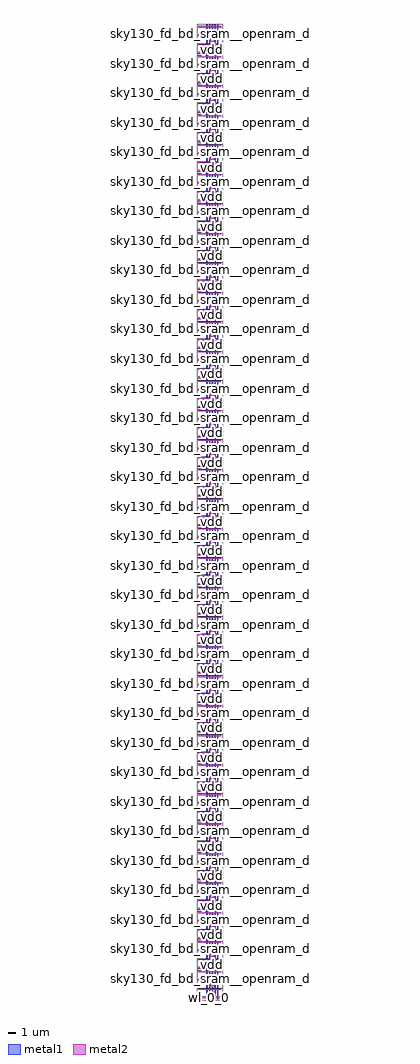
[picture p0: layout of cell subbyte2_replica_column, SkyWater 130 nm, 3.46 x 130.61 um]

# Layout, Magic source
magic
tech sky130A
magscale 1 2
<< metal1 >>
rect 222 0 258 26070
rect 294 0 330 26070
rect 366 25754 402 26095
rect 366 24964 402 25596
rect 366 24174 402 24806
rect 366 23384 402 24016
rect 366 22594 402 23226
rect 366 21804 402 22436
rect 366 21014 402 21646
rect 366 20224 402 20856
rect 366 19434 402 20066
rect 366 18644 402 19276
rect 366 17854 402 18486
rect 366 17064 402 17696
rect 366 16274 402 16906
rect 366 15484 402 16116
rect 366 14694 402 15326
rect 366 13904 402 14536
rect 366 13114 402 13746
rect 366 12324 402 12956
rect 366 11534 402 12166
rect 366 10744 402 11376
rect 366 9954 402 10586
rect 366 9164 402 9796
rect 366 8374 402 9006
rect 366 7584 402 8216
rect 366 6794 402 7426
rect 366 6004 402 6636
rect 366 5214 402 5846
rect 366 4424 402 5056
rect 366 3634 402 4266
rect 366 2844 402 3476
rect 366 2054 402 2686
rect 366 1264 402 1896
rect 366 474 402 1106
rect 366 -25 402 316
rect 438 0 474 26070
rect 510 0 546 26070
<< metal2 >>
rect 0 25998 624 26046
rect 330 25874 438 25950
rect 0 25778 624 25826
rect 330 25620 438 25730
rect 0 25524 624 25572
rect 330 25400 438 25476
rect 0 25304 624 25352
rect 0 25208 624 25256
rect 330 25084 438 25160
rect 0 24988 624 25036
rect 330 24830 438 24940
rect 0 24734 624 24782
rect 330 24610 438 24686
rect 0 24514 624 24562
rect 0 24418 624 24466
rect 330 24294 438 24370
rect 0 24198 624 24246
rect 330 24040 438 24150
rect 0 23944 624 23992
rect 330 23820 438 23896
rect 0 23724 624 23772
rect 0 23628 624 23676
rect 330 23504 438 23580
rect 0 23408 624 23456
rect 330 23250 438 23360
rect 0 23154 624 23202
rect 330 23030 438 23106
rect 0 22934 624 22982
rect 0 22838 624 22886
rect 330 22714 438 22790
rect 0 22618 624 22666
rect 330 22460 438 22570
rect 0 22364 624 22412
rect 330 22240 438 22316
rect 0 22144 624 22192
rect 0 22048 624 22096
rect 330 21924 438 22000
rect 0 21828 624 21876
rect 330 21670 438 21780
rect 0 21574 624 21622
rect 330 21450 438 21526
rect 0 21354 624 21402
rect 0 21258 624 21306
rect 330 21134 438 21210
rect 0 21038 624 21086
rect 330 20880 438 20990
rect 0 20784 624 20832
rect 330 20660 438 20736
rect 0 20564 624 20612
rect 0 20468 624 20516
rect 330 20344 438 20420
rect 0 20248 624 20296
rect 330 20090 438 20200
rect 0 19994 624 20042
rect 330 19870 438 19946
rect 0 19774 624 19822
rect 0 19678 624 19726
rect 330 19554 438 19630
rect 0 19458 624 19506
rect 330 19300 438 19410
rect 0 19204 624 19252
rect 330 19080 438 19156
rect 0 18984 624 19032
rect 0 18888 624 18936
rect 330 18764 438 18840
rect 0 18668 624 18716
rect 330 18510 438 18620
rect 0 18414 624 18462
rect 330 18290 438 18366
rect 0 18194 624 18242
rect 0 18098 624 18146
rect 330 17974 438 18050
rect 0 17878 624 17926
rect 330 17720 438 17830
rect 0 17624 624 17672
rect 330 17500 438 17576
rect 0 17404 624 17452
rect 0 17308 624 17356
rect 330 17184 438 17260
rect 0 17088 624 17136
rect 330 16930 438 17040
rect 0 16834 624 16882
rect 330 16710 438 16786
rect 0 16614 624 16662
rect 0 16518 624 16566
rect 330 16394 438 16470
rect 0 16298 624 16346
rect 330 16140 438 16250
rect 0 16044 624 16092
rect 330 15920 438 15996
rect 0 15824 624 15872
rect 0 15728 624 15776
rect 330 15604 438 15680
rect 0 15508 624 15556
rect 330 15350 438 15460
rect 0 15254 624 15302
rect 330 15130 438 15206
rect 0 15034 624 15082
rect 0 14938 624 14986
rect 330 14814 438 14890
rect 0 14718 624 14766
rect 330 14560 438 14670
rect 0 14464 624 14512
rect 330 14340 438 14416
rect 0 14244 624 14292
rect 0 14148 624 14196
rect 330 14024 438 14100
rect 0 13928 624 13976
rect 330 13770 438 13880
rect 0 13674 624 13722
rect 330 13550 438 13626
rect 0 13454 624 13502
rect 0 13358 624 13406
rect 330 13234 438 13310
rect 0 13138 624 13186
rect 330 12980 438 13090
rect 0 12884 624 12932
rect 330 12760 438 12836
rect 0 12664 624 12712
rect 0 12568 624 12616
rect 330 12444 438 12520
rect 0 12348 624 12396
rect 330 12190 438 12300
rect 0 12094 624 12142
rect 330 11970 438 12046
rect 0 11874 624 11922
rect 0 11778 624 11826
rect 330 11654 438 11730
rect 0 11558 624 11606
rect 330 11400 438 11510
rect 0 11304 624 11352
rect 330 11180 438 11256
rect 0 11084 624 11132
rect 0 10988 624 11036
rect 330 10864 438 10940
rect 0 10768 624 10816
rect 330 10610 438 10720
rect 0 10514 624 10562
rect 330 10390 438 10466
rect 0 10294 624 10342
rect 0 10198 624 10246
rect 330 10074 438 10150
rect 0 9978 624 10026
rect 330 9820 438 9930
rect 0 9724 624 9772
rect 330 9600 438 9676
rect 0 9504 624 9552
rect 0 9408 624 9456
rect 330 9284 438 9360
rect 0 9188 624 9236
rect 330 9030 438 9140
rect 0 8934 624 8982
rect 330 8810 438 8886
rect 0 8714 624 8762
rect 0 8618 624 8666
rect 330 8494 438 8570
rect 0 8398 624 8446
rect 330 8240 438 8350
rect 0 8144 624 8192
rect 330 8020 438 8096
rect 0 7924 624 7972
rect 0 7828 624 7876
rect 330 7704 438 7780
rect 0 7608 624 7656
rect 330 7450 438 7560
rect 0 7354 624 7402
rect 330 7230 438 7306
rect 0 7134 624 7182
rect 0 7038 624 7086
rect 330 6914 438 6990
rect 0 6818 624 6866
rect 330 6660 438 6770
rect 0 6564 624 6612
rect 330 6440 438 6516
rect 0 6344 624 6392
rect 0 6248 624 6296
rect 330 6124 438 6200
rect 0 6028 624 6076
rect 330 5870 438 5980
rect 0 5774 624 5822
rect 330 5650 438 5726
rect 0 5554 624 5602
rect 0 5458 624 5506
rect 330 5334 438 5410
rect 0 5238 624 5286
rect 330 5080 438 5190
rect 0 4984 624 5032
rect 330 4860 438 4936
rect 0 4764 624 4812
rect 0 4668 624 4716
rect 330 4544 438 4620
rect 0 4448 624 4496
rect 330 4290 438 4400
rect 0 4194 624 4242
rect 330 4070 438 4146
rect 0 3974 624 4022
rect 0 3878 624 3926
rect 330 3754 438 3830
rect 0 3658 624 3706
rect 330 3500 438 3610
rect 0 3404 624 3452
rect 330 3280 438 3356
rect 0 3184 624 3232
rect 0 3088 624 3136
rect 330 2964 438 3040
rect 0 2868 624 2916
rect 330 2710 438 2820
rect 0 2614 624 2662
rect 330 2490 438 2566
rect 0 2394 624 2442
rect 0 2298 624 2346
rect 330 2174 438 2250
rect 0 2078 624 2126
rect 330 1920 438 2030
rect 0 1824 624 1872
rect 330 1700 438 1776
rect 0 1604 624 1652
rect 0 1508 624 1556
rect 330 1384 438 1460
rect 0 1288 624 1336
rect 330 1130 438 1240
rect 0 1034 624 1082
rect 330 910 438 986
rect 0 814 624 862
rect 0 718 624 766
rect 330 594 438 670
rect 0 498 624 546
rect 330 340 438 450
rect 0 244 624 292
rect 330 120 438 196
rect 0 24 624 72
use sky130_fd_bd_sram__openram_dp_cell_dummy  sky130_fd_bd_sram__openram_dp_cell_dummy_0
transform -1 0 624 0 1 25675
box -42 -105 650 421
use sky130_fd_bd_sram__openram_dp_cell_replica  sky130_fd_bd_sram__openram_dp_cell_replica_0
transform -1 0 624 0 -1 25675
box -42 -105 650 421
use sky130_fd_bd_sram__openram_dp_cell_replica  sky130_fd_bd_sram__openram_dp_cell_replica_1
transform -1 0 624 0 1 24885
box -42 -105 650 421
use sky130_fd_bd_sram__openram_dp_cell_replica  sky130_fd_bd_sram__openram_dp_cell_replica_2
transform -1 0 624 0 -1 24885
box -42 -105 650 421
use sky130_fd_bd_sram__openram_dp_cell_replica  sky130_fd_bd_sram__openram_dp_cell_replica_3
transform -1 0 624 0 1 24095
box -42 -105 650 421
use sky130_fd_bd_sram__openram_dp_cell_replica  sky130_fd_bd_sram__openram_dp_cell_replica_4
transform -1 0 624 0 -1 24095
box -42 -105 650 421
use sky130_fd_bd_sram__openram_dp_cell_replica  sky130_fd_bd_sram__openram_dp_cell_replica_5
transform -1 0 624 0 1 23305
box -42 -105 650 421
use sky130_fd_bd_sram__openram_dp_cell_replica  sky130_fd_bd_sram__openram_dp_cell_replica_6
transform -1 0 624 0 -1 23305
box -42 -105 650 421
use sky130_fd_bd_sram__openram_dp_cell_replica  sky130_fd_bd_sram__openram_dp_cell_replica_7
transform -1 0 624 0 1 22515
box -42 -105 650 421
use sky130_fd_bd_sram__openram_dp_cell_replica  sky130_fd_bd_sram__openram_dp_cell_replica_8
transform -1 0 624 0 -1 22515
box -42 -105 650 421
use sky130_fd_bd_sram__openram_dp_cell_replica  sky130_fd_bd_sram__openram_dp_cell_replica_9
transform -1 0 624 0 1 21725
box -42 -105 650 421
use sky130_fd_bd_sram__openram_dp_cell_replica  sky130_fd_bd_sram__openram_dp_cell_replica_10
transform -1 0 624 0 -1 21725
box -42 -105 650 421
use sky130_fd_bd_sram__openram_dp_cell_replica  sky130_fd_bd_sram__openram_dp_cell_replica_11
transform -1 0 624 0 1 20935
box -42 -105 650 421
use sky130_fd_bd_sram__openram_dp_cell_replica  sky130_fd_bd_sram__openram_dp_cell_replica_12
transform -1 0 624 0 -1 20935
box -42 -105 650 421
use sky130_fd_bd_sram__openram_dp_cell_replica  sky130_fd_bd_sram__openram_dp_cell_replica_13
transform -1 0 624 0 1 20145
box -42 -105 650 421
use sky130_fd_bd_sram__openram_dp_cell_replica  sky130_fd_bd_sram__openram_dp_cell_replica_14
transform -1 0 624 0 -1 20145
box -42 -105 650 421
use sky130_fd_bd_sram__openram_dp_cell_replica  sky130_fd_bd_sram__openram_dp_cell_replica_15
transform -1 0 624 0 1 19355
box -42 -105 650 421
use sky130_fd_bd_sram__openram_dp_cell_replica  sky130_fd_bd_sram__openram_dp_cell_replica_16
transform -1 0 624 0 -1 19355
box -42 -105 650 421
use sky130_fd_bd_sram__openram_dp_cell_replica  sky130_fd_bd_sram__openram_dp_cell_replica_17
transform -1 0 624 0 1 18565
box -42 -105 650 421
use sky130_fd_bd_sram__openram_dp_cell_replica  sky130_fd_bd_sram__openram_dp_cell_replica_18
transform -1 0 624 0 -1 18565
box -42 -105 650 421
use sky130_fd_bd_sram__openram_dp_cell_replica  sky130_fd_bd_sram__openram_dp_cell_replica_19
transform -1 0 624 0 1 17775
box -42 -105 650 421
use sky130_fd_bd_sram__openram_dp_cell_replica  sky130_fd_bd_sram__openram_dp_cell_replica_20
transform -1 0 624 0 -1 17775
box -42 -105 650 421
use sky130_fd_bd_sram__openram_dp_cell_replica  sky130_fd_bd_sram__openram_dp_cell_replica_21
transform -1 0 624 0 1 16985
box -42 -105 650 421
use sky130_fd_bd_sram__openram_dp_cell_replica  sky130_fd_bd_sram__openram_dp_cell_replica_22
transform -1 0 624 0 -1 16985
box -42 -105 650 421
use sky130_fd_bd_sram__openram_dp_cell_replica  sky130_fd_bd_sram__openram_dp_cell_replica_23
transform -1 0 624 0 1 16195
box -42 -105 650 421
use sky130_fd_bd_sram__openram_dp_cell_replica  sky130_fd_bd_sram__openram_dp_cell_replica_24
transform -1 0 624 0 -1 16195
box -42 -105 650 421
use sky130_fd_bd_sram__openram_dp_cell_replica  sky130_fd_bd_sram__openram_dp_cell_replica_25
transform -1 0 624 0 1 15405
box -42 -105 650 421
use sky130_fd_bd_sram__openram_dp_cell_replica  sky130_fd_bd_sram__openram_dp_cell_replica_26
transform -1 0 624 0 -1 15405
box -42 -105 650 421
use sky130_fd_bd_sram__openram_dp_cell_replica  sky130_fd_bd_sram__openram_dp_cell_replica_27
transform -1 0 624 0 1 14615
box -42 -105 650 421
use sky130_fd_bd_sram__openram_dp_cell_replica  sky130_fd_bd_sram__openram_dp_cell_replica_28
transform -1 0 624 0 -1 14615
box -42 -105 650 421
use sky130_fd_bd_sram__openram_dp_cell_replica  sky130_fd_bd_sram__openram_dp_cell_replica_29
transform -1 0 624 0 1 13825
box -42 -105 650 421
use sky130_fd_bd_sram__openram_dp_cell_replica  sky130_fd_bd_sram__openram_dp_cell_replica_30
transform -1 0 624 0 -1 13825
box -42 -105 650 421
use sky130_fd_bd_sram__openram_dp_cell_replica  sky130_fd_bd_sram__openram_dp_cell_replica_31
transform -1 0 624 0 1 13035
box -42 -105 650 421
use sky130_fd_bd_sram__openram_dp_cell_replica  sky130_fd_bd_sram__openram_dp_cell_replica_32
transform -1 0 624 0 -1 13035
box -42 -105 650 421
use sky130_fd_bd_sram__openram_dp_cell_replica  sky130_fd_bd_sram__openram_dp_cell_replica_33
transform -1 0 624 0 1 12245
box -42 -105 650 421
use sky130_fd_bd_sram__openram_dp_cell_replica  sky130_fd_bd_sram__openram_dp_cell_replica_34
transform -1 0 624 0 -1 12245
box -42 -105 650 421
use sky130_fd_bd_sram__openram_dp_cell_replica  sky130_fd_bd_sram__openram_dp_cell_replica_35
transform -1 0 624 0 1 11455
box -42 -105 650 421
use sky130_fd_bd_sram__openram_dp_cell_replica  sky130_fd_bd_sram__openram_dp_cell_replica_36
transform -1 0 624 0 -1 11455
box -42 -105 650 421
use sky130_fd_bd_sram__openram_dp_cell_replica  sky130_fd_bd_sram__openram_dp_cell_replica_37
transform -1 0 624 0 1 10665
box -42 -105 650 421
use sky130_fd_bd_sram__openram_dp_cell_replica  sky130_fd_bd_sram__openram_dp_cell_replica_38
transform -1 0 624 0 -1 10665
box -42 -105 650 421
use sky130_fd_bd_sram__openram_dp_cell_replica  sky130_fd_bd_sram__openram_dp_cell_replica_39
transform -1 0 624 0 1 9875
box -42 -105 650 421
use sky130_fd_bd_sram__openram_dp_cell_replica  sky130_fd_bd_sram__openram_dp_cell_replica_40
transform -1 0 624 0 -1 9875
box -42 -105 650 421
use sky130_fd_bd_sram__openram_dp_cell_replica  sky130_fd_bd_sram__openram_dp_cell_replica_41
transform -1 0 624 0 1 9085
box -42 -105 650 421
use sky130_fd_bd_sram__openram_dp_cell_replica  sky130_fd_bd_sram__openram_dp_cell_replica_42
transform -1 0 624 0 -1 9085
box -42 -105 650 421
use sky130_fd_bd_sram__openram_dp_cell_replica  sky130_fd_bd_sram__openram_dp_cell_replica_43
transform -1 0 624 0 1 8295
box -42 -105 650 421
use sky130_fd_bd_sram__openram_dp_cell_replica  sky130_fd_bd_sram__openram_dp_cell_replica_44
transform -1 0 624 0 -1 8295
box -42 -105 650 421
use sky130_fd_bd_sram__openram_dp_cell_replica  sky130_fd_bd_sram__openram_dp_cell_replica_45
transform -1 0 624 0 1 7505
box -42 -105 650 421
use sky130_fd_bd_sram__openram_dp_cell_replica  sky130_fd_bd_sram__openram_dp_cell_replica_46
transform -1 0 624 0 -1 7505
box -42 -105 650 421
use sky130_fd_bd_sram__openram_dp_cell_replica  sky130_fd_bd_sram__openram_dp_cell_replica_47
transform -1 0 624 0 1 6715
box -42 -105 650 421
use sky130_fd_bd_sram__openram_dp_cell_replica  sky130_fd_bd_sram__openram_dp_cell_replica_48
transform -1 0 624 0 -1 6715
box -42 -105 650 421
use sky130_fd_bd_sram__openram_dp_cell_replica  sky130_fd_bd_sram__openram_dp_cell_replica_49
transform -1 0 624 0 1 5925
box -42 -105 650 421
use sky130_fd_bd_sram__openram_dp_cell_replica  sky130_fd_bd_sram__openram_dp_cell_replica_50
transform -1 0 624 0 -1 5925
box -42 -105 650 421
use sky130_fd_bd_sram__openram_dp_cell_replica  sky130_fd_bd_sram__openram_dp_cell_replica_51
transform -1 0 624 0 1 5135
box -42 -105 650 421
use sky130_fd_bd_sram__openram_dp_cell_replica  sky130_fd_bd_sram__openram_dp_cell_replica_52
transform -1 0 624 0 -1 5135
box -42 -105 650 421
use sky130_fd_bd_sram__openram_dp_cell_replica  sky130_fd_bd_sram__openram_dp_cell_replica_53
transform -1 0 624 0 1 4345
box -42 -105 650 421
use sky130_fd_bd_sram__openram_dp_cell_replica  sky130_fd_bd_sram__openram_dp_cell_replica_54
transform -1 0 624 0 -1 4345
box -42 -105 650 421
use sky130_fd_bd_sram__openram_dp_cell_replica  sky130_fd_bd_sram__openram_dp_cell_replica_55
transform -1 0 624 0 1 3555
box -42 -105 650 421
use sky130_fd_bd_sram__openram_dp_cell_replica  sky130_fd_bd_sram__openram_dp_cell_replica_56
transform -1 0 624 0 -1 3555
box -42 -105 650 421
use sky130_fd_bd_sram__openram_dp_cell_replica  sky130_fd_bd_sram__openram_dp_cell_replica_57
transform -1 0 624 0 1 2765
box -42 -105 650 421
use sky130_fd_bd_sram__openram_dp_cell_replica  sky130_fd_bd_sram__openram_dp_cell_replica_58
transform -1 0 624 0 -1 2765
box -42 -105 650 421
use sky130_fd_bd_sram__openram_dp_cell_replica  sky130_fd_bd_sram__openram_dp_cell_replica_59
transform -1 0 624 0 1 1975
box -42 -105 650 421
use sky130_fd_bd_sram__openram_dp_cell_replica  sky130_fd_bd_sram__openram_dp_cell_replica_60
transform -1 0 624 0 -1 1975
box -42 -105 650 421
use sky130_fd_bd_sram__openram_dp_cell_replica  sky130_fd_bd_sram__openram_dp_cell_replica_61
transform -1 0 624 0 1 1185
box -42 -105 650 421
use sky130_fd_bd_sram__openram_dp_cell_replica  sky130_fd_bd_sram__openram_dp_cell_replica_62
transform -1 0 624 0 -1 1185
box -42 -105 650 421
use sky130_fd_bd_sram__openram_dp_cell_replica  sky130_fd_bd_sram__openram_dp_cell_replica_63
transform -1 0 624 0 1 395
box -42 -105 650 421
use sky130_fd_bd_sram__openram_dp_cell_replica  sky130_fd_bd_sram__openram_dp_cell_replica_64
transform -1 0 624 0 -1 395
box -42 -105 650 421
<< labels >>
rlabel metal1 s 510 0 546 26070 4 bl_0_0
port 3 nsew
rlabel metal1 s 438 0 474 26070 4 br_0_0
port 5 nsew
rlabel metal1 s 294 0 330 26070 4 bl_1_0
port 7 nsew
rlabel metal1 s 222 0 258 26070 4 br_1_0
port 9 nsew
rlabel metal2 s 0 24 624 72 4 wl_0_0
port 11 nsew
rlabel metal2 s 0 718 624 766 4 wl_0_1
port 13 nsew
rlabel metal2 s 0 814 624 862 4 wl_0_2
port 15 nsew
rlabel metal2 s 0 1508 624 1556 4 wl_0_3
port 17 nsew
rlabel metal2 s 0 1604 624 1652 4 wl_0_4
port 19 nsew
rlabel metal2 s 0 2298 624 2346 4 wl_0_5
port 21 nsew
rlabel metal2 s 0 2394 624 2442 4 wl_0_6
port 23 nsew
rlabel metal2 s 0 3088 624 3136 4 wl_0_7
port 25 nsew
rlabel metal2 s 0 3184 624 3232 4 wl_0_8
port 27 nsew
rlabel metal2 s 0 3878 624 3926 4 wl_0_9
port 29 nsew
rlabel metal2 s 0 3974 624 4022 4 wl_0_10
port 31 nsew
rlabel metal2 s 0 4668 624 4716 4 wl_0_11
port 33 nsew
rlabel metal2 s 0 4764 624 4812 4 wl_0_12
port 35 nsew
rlabel metal2 s 0 5458 624 5506 4 wl_0_13
port 37 nsew
rlabel metal2 s 0 5554 624 5602 4 wl_0_14
port 39 nsew
rlabel metal2 s 0 6248 624 6296 4 wl_0_15
port 41 nsew
rlabel metal2 s 0 6344 624 6392 4 wl_0_16
port 43 nsew
rlabel metal2 s 0 7038 624 7086 4 wl_0_17
port 45 nsew
rlabel metal2 s 0 7134 624 7182 4 wl_0_18
port 47 nsew
rlabel metal2 s 0 7828 624 7876 4 wl_0_19
port 49 nsew
rlabel metal2 s 0 7924 624 7972 4 wl_0_20
port 51 nsew
rlabel metal2 s 0 8618 624 8666 4 wl_0_21
port 53 nsew
rlabel metal2 s 0 8714 624 8762 4 wl_0_22
port 55 nsew
rlabel metal2 s 0 9408 624 9456 4 wl_0_23
port 57 nsew
rlabel metal2 s 0 9504 624 9552 4 wl_0_24
port 59 nsew
rlabel metal2 s 0 10198 624 10246 4 wl_0_25
port 61 nsew
rlabel metal2 s 0 10294 624 10342 4 wl_0_26
port 63 nsew
rlabel metal2 s 0 10988 624 11036 4 wl_0_27
port 65 nsew
rlabel metal2 s 0 11084 624 11132 4 wl_0_28
port 67 nsew
rlabel metal2 s 0 11778 624 11826 4 wl_0_29
port 69 nsew
rlabel metal2 s 0 11874 624 11922 4 wl_0_30
port 71 nsew
rlabel metal2 s 0 12568 624 12616 4 wl_0_31
port 73 nsew
rlabel metal2 s 0 12664 624 12712 4 wl_0_32
port 75 nsew
rlabel metal2 s 0 13358 624 13406 4 wl_0_33
port 77 nsew
rlabel metal2 s 0 13454 624 13502 4 wl_0_34
port 79 nsew
rlabel metal2 s 0 14148 624 14196 4 wl_0_35
port 81 nsew
rlabel metal2 s 0 14244 624 14292 4 wl_0_36
port 83 nsew
rlabel metal2 s 0 14938 624 14986 4 wl_0_37
port 85 nsew
rlabel metal2 s 0 15034 624 15082 4 wl_0_38
port 87 nsew
rlabel metal2 s 0 15728 624 15776 4 wl_0_39
port 89 nsew
rlabel metal2 s 0 15824 624 15872 4 wl_0_40
port 91 nsew
rlabel metal2 s 0 16518 624 16566 4 wl_0_41
port 93 nsew
rlabel metal2 s 0 16614 624 16662 4 wl_0_42
port 95 nsew
rlabel metal2 s 0 17308 624 17356 4 wl_0_43
port 97 nsew
rlabel metal2 s 0 17404 624 17452 4 wl_0_44
port 99 nsew
rlabel metal2 s 0 18098 624 18146 4 wl_0_45
port 101 nsew
rlabel metal2 s 0 18194 624 18242 4 wl_0_46
port 103 nsew
rlabel metal2 s 0 18888 624 18936 4 wl_0_47
port 105 nsew
rlabel metal2 s 0 18984 624 19032 4 wl_0_48
port 107 nsew
rlabel metal2 s 0 19678 624 19726 4 wl_0_49
port 109 nsew
rlabel metal2 s 0 19774 624 19822 4 wl_0_50
port 111 nsew
rlabel metal2 s 0 20468 624 20516 4 wl_0_51
port 113 nsew
rlabel metal2 s 0 20564 624 20612 4 wl_0_52
port 115 nsew
rlabel metal2 s 0 21258 624 21306 4 wl_0_53
port 117 nsew
rlabel metal2 s 0 21354 624 21402 4 wl_0_54
port 119 nsew
rlabel metal2 s 0 22048 624 22096 4 wl_0_55
port 121 nsew
rlabel metal2 s 0 22144 624 22192 4 wl_0_56
port 123 nsew
rlabel metal2 s 0 22838 624 22886 4 wl_0_57
port 125 nsew
rlabel metal2 s 0 22934 624 22982 4 wl_0_58
port 127 nsew
rlabel metal2 s 0 23628 624 23676 4 wl_0_59
port 129 nsew
rlabel metal2 s 0 23724 624 23772 4 wl_0_60
port 131 nsew
rlabel metal2 s 0 24418 624 24466 4 wl_0_61
port 133 nsew
rlabel metal2 s 0 24514 624 24562 4 wl_0_62
port 135 nsew
rlabel metal2 s 0 25208 624 25256 4 wl_0_63
port 137 nsew
rlabel metal2 s 0 25304 624 25352 4 wl_0_64
port 139 nsew
rlabel metal2 s 0 25998 624 26046 4 wl_0_65
port 141 nsew
rlabel metal2 s 0 244 624 292 4 wl_1_0
port 143 nsew
rlabel metal2 s 0 498 624 546 4 wl_1_1
port 145 nsew
rlabel metal2 s 0 1034 624 1082 4 wl_1_2
port 147 nsew
rlabel metal2 s 0 1288 624 1336 4 wl_1_3
port 149 nsew
rlabel metal2 s 0 1824 624 1872 4 wl_1_4
port 151 nsew
rlabel metal2 s 0 2078 624 2126 4 wl_1_5
port 153 nsew
rlabel metal2 s 0 2614 624 2662 4 wl_1_6
port 155 nsew
rlabel metal2 s 0 2868 624 2916 4 wl_1_7
port 157 nsew
rlabel metal2 s 0 3404 624 3452 4 wl_1_8
port 159 nsew
rlabel metal2 s 0 3658 624 3706 4 wl_1_9
port 161 nsew
rlabel metal2 s 0 4194 624 4242 4 wl_1_10
port 163 nsew
rlabel metal2 s 0 4448 624 4496 4 wl_1_11
port 165 nsew
rlabel metal2 s 0 4984 624 5032 4 wl_1_12
port 167 nsew
rlabel metal2 s 0 5238 624 5286 4 wl_1_13
port 169 nsew
rlabel metal2 s 0 5774 624 5822 4 wl_1_14
port 171 nsew
rlabel metal2 s 0 6028 624 6076 4 wl_1_15
port 173 nsew
rlabel metal2 s 0 6564 624 6612 4 wl_1_16
port 175 nsew
rlabel metal2 s 0 6818 624 6866 4 wl_1_17
port 177 nsew
rlabel metal2 s 0 7354 624 7402 4 wl_1_18
port 179 nsew
rlabel metal2 s 0 7608 624 7656 4 wl_1_19
port 181 nsew
rlabel metal2 s 0 8144 624 8192 4 wl_1_20
port 183 nsew
rlabel metal2 s 0 8398 624 8446 4 wl_1_21
port 185 nsew
rlabel metal2 s 0 8934 624 8982 4 wl_1_22
port 187 nsew
rlabel metal2 s 0 9188 624 9236 4 wl_1_23
port 189 nsew
rlabel metal2 s 0 9724 624 9772 4 wl_1_24
port 191 nsew
rlabel metal2 s 0 9978 624 10026 4 wl_1_25
port 193 nsew
rlabel metal2 s 0 10514 624 10562 4 wl_1_26
port 195 nsew
rlabel metal2 s 0 10768 624 10816 4 wl_1_27
port 197 nsew
rlabel metal2 s 0 11304 624 11352 4 wl_1_28
port 199 nsew
rlabel metal2 s 0 11558 624 11606 4 wl_1_29
port 201 nsew
rlabel metal2 s 0 12094 624 12142 4 wl_1_30
port 203 nsew
rlabel metal2 s 0 12348 624 12396 4 wl_1_31
port 205 nsew
rlabel metal2 s 0 12884 624 12932 4 wl_1_32
port 207 nsew
rlabel metal2 s 0 13138 624 13186 4 wl_1_33
port 209 nsew
rlabel metal2 s 0 13674 624 13722 4 wl_1_34
port 211 nsew
rlabel metal2 s 0 13928 624 13976 4 wl_1_35
port 213 nsew
rlabel metal2 s 0 14464 624 14512 4 wl_1_36
port 215 nsew
rlabel metal2 s 0 14718 624 14766 4 wl_1_37
port 217 nsew
rlabel metal2 s 0 15254 624 15302 4 wl_1_38
port 219 nsew
rlabel metal2 s 0 15508 624 15556 4 wl_1_39
port 221 nsew
rlabel metal2 s 0 16044 624 16092 4 wl_1_40
port 223 nsew
rlabel metal2 s 0 16298 624 16346 4 wl_1_41
port 225 nsew
rlabel metal2 s 0 16834 624 16882 4 wl_1_42
port 227 nsew
rlabel metal2 s 0 17088 624 17136 4 wl_1_43
port 229 nsew
rlabel metal2 s 0 17624 624 17672 4 wl_1_44
port 231 nsew
rlabel metal2 s 0 17878 624 17926 4 wl_1_45
port 233 nsew
rlabel metal2 s 0 18414 624 18462 4 wl_1_46
port 235 nsew
rlabel metal2 s 0 18668 624 18716 4 wl_1_47
port 237 nsew
rlabel metal2 s 0 19204 624 19252 4 wl_1_48
port 239 nsew
rlabel metal2 s 0 19458 624 19506 4 wl_1_49
port 241 nsew
rlabel metal2 s 0 19994 624 20042 4 wl_1_50
port 243 nsew
rlabel metal2 s 0 20248 624 20296 4 wl_1_51
port 245 nsew
rlabel metal2 s 0 20784 624 20832 4 wl_1_52
port 247 nsew
rlabel metal2 s 0 21038 624 21086 4 wl_1_53
port 249 nsew
rlabel metal2 s 0 21574 624 21622 4 wl_1_54
port 251 nsew
rlabel metal2 s 0 21828 624 21876 4 wl_1_55
port 253 nsew
rlabel metal2 s 0 22364 624 22412 4 wl_1_56
port 255 nsew
rlabel metal2 s 0 22618 624 22666 4 wl_1_57
port 257 nsew
rlabel metal2 s 0 23154 624 23202 4 wl_1_58
port 259 nsew
rlabel metal2 s 0 23408 624 23456 4 wl_1_59
port 261 nsew
rlabel metal2 s 0 23944 624 23992 4 wl_1_60
port 263 nsew
rlabel metal2 s 0 24198 624 24246 4 wl_1_61
port 265 nsew
rlabel metal2 s 0 24734 624 24782 4 wl_1_62
port 267 nsew
rlabel metal2 s 0 24988 624 25036 4 wl_1_63
port 269 nsew
rlabel metal2 s 0 25524 624 25572 4 wl_1_64
port 271 nsew
rlabel metal2 s 0 25778 624 25826 4 wl_1_65
port 273 nsew
rlabel metal1 s 366 15775 402 16116 4 vdd
port 275 nsew
rlabel metal1 s 366 2345 402 2686 4 vdd
port 275 nsew
rlabel metal1 s 366 5214 402 5555 4 vdd
port 275 nsew
rlabel metal1 s 366 3634 402 3975 4 vdd
port 275 nsew
rlabel metal1 s 366 18935 402 19276 4 vdd
port 275 nsew
rlabel metal1 s 366 18145 402 18486 4 vdd
port 275 nsew
rlabel metal1 s 366 7085 402 7426 4 vdd
port 275 nsew
rlabel metal1 s 366 14985 402 15326 4 vdd
port 275 nsew
rlabel metal1 s 366 15484 402 15825 4 vdd
port 275 nsew
rlabel metal1 s 366 2054 402 2395 4 vdd
port 275 nsew
rlabel metal1 s 366 1555 402 1896 4 vdd
port 275 nsew
rlabel metal1 s 366 17355 402 17696 4 vdd
port 275 nsew
rlabel metal1 s 366 19725 402 20066 4 vdd
port 275 nsew
rlabel metal1 s 366 22885 402 23226 4 vdd
port 275 nsew
rlabel metal1 s 366 21014 402 21355 4 vdd
port 275 nsew
rlabel metal1 s 366 9954 402 10295 4 vdd
port 275 nsew
rlabel metal1 s 366 16565 402 16906 4 vdd
port 275 nsew
rlabel metal1 s 366 22594 402 22935 4 vdd
port 275 nsew
rlabel metal1 s 366 4424 402 4765 4 vdd
port 275 nsew
rlabel metal1 s 366 14694 402 15035 4 vdd
port 275 nsew
rlabel metal1 s 366 765 402 1106 4 vdd
port 275 nsew
rlabel metal1 s 366 21305 402 21646 4 vdd
port 275 nsew
rlabel metal1 s 366 8374 402 8715 4 vdd
port 275 nsew
rlabel metal1 s 366 24174 402 24515 4 vdd
port 275 nsew
rlabel metal1 s 366 5505 402 5846 4 vdd
port 275 nsew
rlabel metal1 s 366 10744 402 11085 4 vdd
port 275 nsew
rlabel metal1 s 366 24465 402 24806 4 vdd
port 275 nsew
rlabel metal1 s 366 1264 402 1605 4 vdd
port 275 nsew
rlabel metal1 s 366 6004 402 6345 4 vdd
port 275 nsew
rlabel metal1 s 366 19434 402 19775 4 vdd
port 275 nsew
rlabel metal1 s 366 24964 402 25305 4 vdd
port 275 nsew
rlabel metal1 s 366 11534 402 11875 4 vdd
port 275 nsew
rlabel metal1 s 366 8665 402 9006 4 vdd
port 275 nsew
rlabel metal1 s 366 6794 402 7135 4 vdd
port 275 nsew
rlabel metal1 s 366 474 402 815 4 vdd
port 275 nsew
rlabel metal1 s 366 18644 402 18985 4 vdd
port 275 nsew
rlabel metal1 s 366 14195 402 14536 4 vdd
port 275 nsew
rlabel metal1 s 366 16274 402 16615 4 vdd
port 275 nsew
rlabel metal1 s 366 13405 402 13746 4 vdd
port 275 nsew
rlabel metal1 s 366 17854 402 18195 4 vdd
port 275 nsew
rlabel metal1 s 366 23384 402 23725 4 vdd
port 275 nsew
rlabel metal1 s 366 2844 402 3185 4 vdd
port 275 nsew
rlabel metal1 s 366 7875 402 8216 4 vdd
port 275 nsew
rlabel metal1 s 366 22095 402 22436 4 vdd
port 275 nsew
rlabel metal1 s 366 10245 402 10586 4 vdd
port 275 nsew
rlabel metal1 s 366 12615 402 12956 4 vdd
port 275 nsew
rlabel metal1 s 366 9455 402 9796 4 vdd
port 275 nsew
rlabel metal1 s 366 23675 402 24016 4 vdd
port 275 nsew
rlabel metal1 s 366 20224 402 20565 4 vdd
port 275 nsew
rlabel metal1 s 366 11035 402 11376 4 vdd
port 275 nsew
rlabel metal1 s 366 3925 402 4266 4 vdd
port 275 nsew
rlabel metal1 s 366 7584 402 7925 4 vdd
port 275 nsew
rlabel metal1 s 366 25255 402 25596 4 vdd
port 275 nsew
rlabel metal1 s 366 4715 402 5056 4 vdd
port 275 nsew
rlabel metal1 s 366 3135 402 3476 4 vdd
port 275 nsew
rlabel metal1 s 366 12324 402 12665 4 vdd
port 275 nsew
rlabel metal1 s 366 13904 402 14245 4 vdd
port 275 nsew
rlabel metal1 s 366 13114 402 13455 4 vdd
port 275 nsew
rlabel metal1 s 366 25754 402 26095 4 vdd
port 275 nsew
rlabel metal1 s 366 -25 402 316 4 vdd
port 275 nsew
rlabel metal1 s 366 11825 402 12166 4 vdd
port 275 nsew
rlabel metal1 s 366 9164 402 9505 4 vdd
port 275 nsew
rlabel metal1 s 366 21804 402 22145 4 vdd
port 275 nsew
rlabel metal1 s 366 20515 402 20856 4 vdd
port 275 nsew
rlabel metal1 s 366 17064 402 17405 4 vdd
port 275 nsew
rlabel metal1 s 366 6295 402 6636 4 vdd
port 275 nsew
rlabel metal2 s 330 5334 438 5410 4 gnd
port 277 nsew
rlabel metal2 s 330 7230 438 7306 4 gnd
port 277 nsew
rlabel metal2 s 330 5080 438 5190 4 gnd
port 277 nsew
rlabel metal2 s 330 6914 438 6990 4 gnd
port 277 nsew
rlabel metal2 s 330 21134 438 21210 4 gnd
port 277 nsew
rlabel metal2 s 330 14024 438 14100 4 gnd
port 277 nsew
rlabel metal2 s 330 16930 438 17040 4 gnd
port 277 nsew
rlabel metal2 s 330 594 438 670 4 gnd
port 277 nsew
rlabel metal2 s 330 12760 438 12836 4 gnd
port 277 nsew
rlabel metal2 s 330 1130 438 1240 4 gnd
port 277 nsew
rlabel metal2 s 330 2964 438 3040 4 gnd
port 277 nsew
rlabel metal2 s 330 7450 438 7560 4 gnd
port 277 nsew
rlabel metal2 s 330 11400 438 11510 4 gnd
port 277 nsew
rlabel metal2 s 330 18764 438 18840 4 gnd
port 277 nsew
rlabel metal2 s 330 18510 438 18620 4 gnd
port 277 nsew
rlabel metal2 s 330 17184 438 17260 4 gnd
port 277 nsew
rlabel metal2 s 330 4860 438 4936 4 gnd
port 277 nsew
rlabel metal2 s 330 8810 438 8886 4 gnd
port 277 nsew
rlabel metal2 s 330 22240 438 22316 4 gnd
port 277 nsew
rlabel metal2 s 330 4290 438 4400 4 gnd
port 277 nsew
rlabel metal2 s 330 9600 438 9676 4 gnd
port 277 nsew
rlabel metal2 s 330 10390 438 10466 4 gnd
port 277 nsew
rlabel metal2 s 330 25620 438 25730 4 gnd
port 277 nsew
rlabel metal2 s 330 2490 438 2566 4 gnd
port 277 nsew
rlabel metal2 s 330 21670 438 21780 4 gnd
port 277 nsew
rlabel metal2 s 330 23504 438 23580 4 gnd
port 277 nsew
rlabel metal2 s 330 4544 438 4620 4 gnd
port 277 nsew
rlabel metal2 s 330 1700 438 1776 4 gnd
port 277 nsew
rlabel metal2 s 330 3280 438 3356 4 gnd
port 277 nsew
rlabel metal2 s 330 5870 438 5980 4 gnd
port 277 nsew
rlabel metal2 s 330 11180 438 11256 4 gnd
port 277 nsew
rlabel metal2 s 330 19300 438 19410 4 gnd
port 277 nsew
rlabel metal2 s 330 25874 438 25950 4 gnd
port 277 nsew
rlabel metal2 s 330 21924 438 22000 4 gnd
port 277 nsew
rlabel metal2 s 330 9284 438 9360 4 gnd
port 277 nsew
rlabel metal2 s 330 12980 438 13090 4 gnd
port 277 nsew
rlabel metal2 s 330 21450 438 21526 4 gnd
port 277 nsew
rlabel metal2 s 330 15130 438 15206 4 gnd
port 277 nsew
rlabel metal2 s 330 6124 438 6200 4 gnd
port 277 nsew
rlabel metal2 s 330 20090 438 20200 4 gnd
port 277 nsew
rlabel metal2 s 330 3500 438 3610 4 gnd
port 277 nsew
rlabel metal2 s 330 25400 438 25476 4 gnd
port 277 nsew
rlabel metal2 s 330 12444 438 12520 4 gnd
port 277 nsew
rlabel metal2 s 330 19554 438 19630 4 gnd
port 277 nsew
rlabel metal2 s 330 24294 438 24370 4 gnd
port 277 nsew
rlabel metal2 s 330 9030 438 9140 4 gnd
port 277 nsew
rlabel metal2 s 330 5650 438 5726 4 gnd
port 277 nsew
rlabel metal2 s 330 6440 438 6516 4 gnd
port 277 nsew
rlabel metal2 s 330 2174 438 2250 4 gnd
port 277 nsew
rlabel metal2 s 330 9820 438 9930 4 gnd
port 277 nsew
rlabel metal2 s 330 14560 438 14670 4 gnd
port 277 nsew
rlabel metal2 s 330 24830 438 24940 4 gnd
port 277 nsew
rlabel metal2 s 330 16394 438 16470 4 gnd
port 277 nsew
rlabel metal2 s 330 1920 438 2030 4 gnd
port 277 nsew
rlabel metal2 s 330 13234 438 13310 4 gnd
port 277 nsew
rlabel metal2 s 330 12190 438 12300 4 gnd
port 277 nsew
rlabel metal2 s 330 25084 438 25160 4 gnd
port 277 nsew
rlabel metal2 s 330 8240 438 8350 4 gnd
port 277 nsew
rlabel metal2 s 330 7704 438 7780 4 gnd
port 277 nsew
rlabel metal2 s 330 24610 438 24686 4 gnd
port 277 nsew
rlabel metal2 s 330 340 438 450 4 gnd
port 277 nsew
rlabel metal2 s 330 6660 438 6770 4 gnd
port 277 nsew
rlabel metal2 s 330 8020 438 8096 4 gnd
port 277 nsew
rlabel metal2 s 330 120 438 196 4 gnd
port 277 nsew
rlabel metal2 s 330 1384 438 1460 4 gnd
port 277 nsew
rlabel metal2 s 330 13550 438 13626 4 gnd
port 277 nsew
rlabel metal2 s 330 23030 438 23106 4 gnd
port 277 nsew
rlabel metal2 s 330 17720 438 17830 4 gnd
port 277 nsew
rlabel metal2 s 330 24040 438 24150 4 gnd
port 277 nsew
rlabel metal2 s 330 20660 438 20736 4 gnd
port 277 nsew
rlabel metal2 s 330 13770 438 13880 4 gnd
port 277 nsew
rlabel metal2 s 330 11654 438 11730 4 gnd
port 277 nsew
rlabel metal2 s 330 23820 438 23896 4 gnd
port 277 nsew
rlabel metal2 s 330 14814 438 14890 4 gnd
port 277 nsew
rlabel metal2 s 330 19080 438 19156 4 gnd
port 277 nsew
rlabel metal2 s 330 14340 438 14416 4 gnd
port 277 nsew
rlabel metal2 s 330 16140 438 16250 4 gnd
port 277 nsew
rlabel metal2 s 330 17500 438 17576 4 gnd
port 277 nsew
rlabel metal2 s 330 16710 438 16786 4 gnd
port 277 nsew
rlabel metal2 s 330 910 438 986 4 gnd
port 277 nsew
rlabel metal2 s 330 11970 438 12046 4 gnd
port 277 nsew
rlabel metal2 s 330 18290 438 18366 4 gnd
port 277 nsew
rlabel metal2 s 330 20344 438 20420 4 gnd
port 277 nsew
rlabel metal2 s 330 2710 438 2820 4 gnd
port 277 nsew
rlabel metal2 s 330 15604 438 15680 4 gnd
port 277 nsew
rlabel metal2 s 330 10864 438 10940 4 gnd
port 277 nsew
rlabel metal2 s 330 19870 438 19946 4 gnd
port 277 nsew
rlabel metal2 s 330 17974 438 18050 4 gnd
port 277 nsew
rlabel metal2 s 330 4070 438 4146 4 gnd
port 277 nsew
rlabel metal2 s 330 8494 438 8570 4 gnd
port 277 nsew
rlabel metal2 s 330 3754 438 3830 4 gnd
port 277 nsew
rlabel metal2 s 330 10074 438 10150 4 gnd
port 277 nsew
rlabel metal2 s 330 23250 438 23360 4 gnd
port 277 nsew
rlabel metal2 s 330 15920 438 15996 4 gnd
port 277 nsew
rlabel metal2 s 330 22714 438 22790 4 gnd
port 277 nsew
rlabel metal2 s 330 15350 438 15460 4 gnd
port 277 nsew
rlabel metal2 s 330 22460 438 22570 4 gnd
port 277 nsew
rlabel metal2 s 330 20880 438 20990 4 gnd
port 277 nsew
rlabel metal2 s 330 10610 438 10720 4 gnd
port 277 nsew
<< properties >>
string FIXED_BBOX 0 0 624 26070
<< end >>
